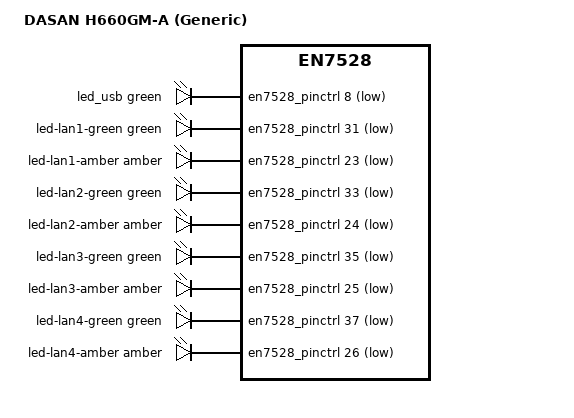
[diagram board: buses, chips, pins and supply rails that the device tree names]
// SPDX-License-Identifier: (GPL-2.0-only OR BSD-2-Clause)
/dts-v1/;

#include "en7528_dasan_h660gm-a.dtsi"

/ {
	model = "DASAN H660GM-A (Generic)";
	compatible = "dasan,h660gm-a-generic", "econet,en7528";

	keys-polled {
		/* gpio22 has no interrupt (only GPIO0-15 do), so poll it */
		key-wlan {
			label = "wlan";
			gpios = <&en7528_pinctrl 22 GPIO_ACTIVE_LOW>;
			linux,code = <KEY_RFKILL>;
		};
	};

	leds {
		led_usb: usb {
			color = <LED_COLOR_ID_GREEN>;
			function = LED_FUNCTION_USB;
			gpios = <&en7528_pinctrl 8 GPIO_ACTIVE_LOW>;
			linux,default-trigger = "usbport";
			trigger-sources = <&usb>;
		};

		led-lan1-green {
			color = <LED_COLOR_ID_GREEN>;
			function = LED_FUNCTION_LAN;
			function-enumerator = <1>;
			gpios = <&en7528_pinctrl 31 GPIO_ACTIVE_LOW>;
		};

		led-lan1-amber {
			color = <LED_COLOR_ID_AMBER>;
			function = LED_FUNCTION_LAN;
			function-enumerator = <1>;
			gpios = <&en7528_pinctrl 23 GPIO_ACTIVE_LOW>;
		};

		led-lan2-green {
			color = <LED_COLOR_ID_GREEN>;
			function = LED_FUNCTION_LAN;
			function-enumerator = <2>;
			gpios = <&en7528_pinctrl 33 GPIO_ACTIVE_LOW>;
		};

		led-lan2-amber {
			color = <LED_COLOR_ID_AMBER>;
			function = LED_FUNCTION_LAN;
			function-enumerator = <2>;
			gpios = <&en7528_pinctrl 24 GPIO_ACTIVE_LOW>;
		};

		led-lan3-green {
			color = <LED_COLOR_ID_GREEN>;
			function = LED_FUNCTION_LAN;
			function-enumerator = <3>;
			gpios = <&en7528_pinctrl 35 GPIO_ACTIVE_LOW>;
		};

		led-lan3-amber {
			color = <LED_COLOR_ID_AMBER>;
			function = LED_FUNCTION_LAN;
			function-enumerator = <3>;
			gpios = <&en7528_pinctrl 25 GPIO_ACTIVE_LOW>;
		};

		led-lan4-green {
			color = <LED_COLOR_ID_GREEN>;
			function = LED_FUNCTION_LAN;
			function-enumerator = <4>;
			gpios = <&en7528_pinctrl 37 GPIO_ACTIVE_LOW>;
		};

		led-lan4-amber {
			color = <LED_COLOR_ID_AMBER>;
			function = LED_FUNCTION_LAN;
			function-enumerator = <4>;
			gpios = <&en7528_pinctrl 26 GPIO_ACTIVE_LOW>;
		};
	};
};

&partitions {
	partition@60c0000 {
		label = "unknown";
		reg = <0x60c0000 0xd00000>;
	};

	partition@6dc0000 {
		label = "reservearea";
		reg = <0x6dc0000 0x240000>;
		nvmem-layout {
			compatible = "fixed-layout";
			#address-cells = <1>;
			#size-cells = <1>;

			eeprom_reservearea_40000: eeprom@40000 {
				reg = <0x40000 0x4da8>;
			};

			eeprom_reservearea_1c0000: eeprom@1c0000 {
				reg = <0x1c0000 0x400>;
			};
		};
	};
};
